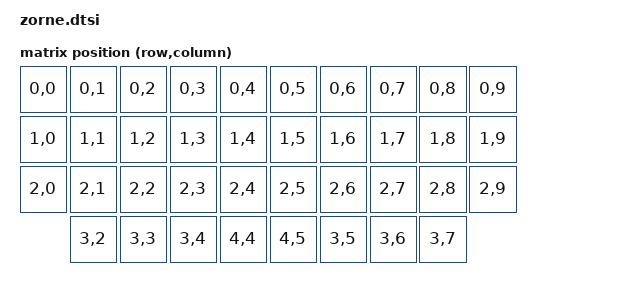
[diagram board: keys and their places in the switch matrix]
#include <dt-bindings/zmk/matrix_transform.h>

/ {
	chosen {
		zmk,kscan = &kscan0;
		zmk,matrix_transform = &default_transform;
		zmk,battery = &vbatt;
		zephyr,console = &cdc_acm_uart;
	};
	default_transform: keymap_transform_0 {
		compatible = "zmk,matrix-transform";
		columns = <10>;
		rows = <5>;
		map = <
			RC(0,0) RC(0,1) RC(0,2) RC(0,3) RC(0,4)  RC(0,5) RC(0,6) RC(0,7) RC(0,8) RC(0,9)
			RC(1,0) RC(1,1) RC(1,2) RC(1,3) RC(1,4)  RC(1,5) RC(1,6) RC(1,7) RC(1,8) RC(1,9)
			RC(2,0) RC(2,1) RC(2,2) RC(2,3) RC(2,4)  RC(2,5) RC(2,6) RC(2,7) RC(2,8) RC(2,9)
					    RC(3,2) RC(3,3) RC(3,4) RC(4,4)  RC(4,5) RC(3,5) RC(3,6) RC(3,7)
		>;
	};
	kscan0: kscan {
        compatible = "zmk,kscan-gpio-matrix";
        label = "KSCAN";
        diode-direction = "col2row";
        wakeup-source;
    };
	vbatt: vbatt {
        status = "okay";
        compatible = "zmk,battery-voltage-divider";
        label = "BATTERY";
        io-channels = <&adc 7>;
        power-gpios = <&gpio0 14 (GPIO_OPEN_DRAIN | GPIO_ACTIVE_LOW)>;
        output-ohms = <510000>;
        full-ohms = <(1000000 + 510000)>;
    };
};

&adc {
    status = "okay";
};

&usbd {
    cdc_acm_uart: cdc_acm_uart {
        compatible = "zephyr,cdc-acm-uart";
        label = "CDC_ACM_0";
    };
};
